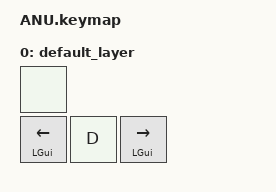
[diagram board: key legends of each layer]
/*
 * Copyright (c) 2020 The ZMK Contributors
 *
 * SPDX-License-Identifier: MIT
 */
#include <behaviors.dtsi>
#include <dt-bindings/zmk/bt.h>
#include <dt-bindings/zmk/keys.h>
#include <dt-bindings/zmk/outputs.h>
#include <dt-bindings/zmk/ext_power.h>

/ {
    behaviors {
        hm: homerow_mods {
            compatible = "zmk,behavior-hold-tap";
            label = "HOMEROW_MODS";
            #binding-cells = <2>;
            tapping-term-ms = <200>;
            quick_tap_ms = <0>;
            flavor = "tap-preferred";
            bindings = <&kp>, <&kp>;
        };
    };
};

/ {
    combos {
        compatible = "zmk,combos";
        combo_L {
            timeout-ms = <50>;
            key-positions = <2 3>;
            bindings = <&kp L>;
        };
    };
};

/ {
    keymap {
      compatible = "zmk,keymap";
      default_layer {
        bindings = <
                &none
          &hm LGUI LEFT &kp D &hm LGUI RIGHT     
        >;
      };
    };
};
